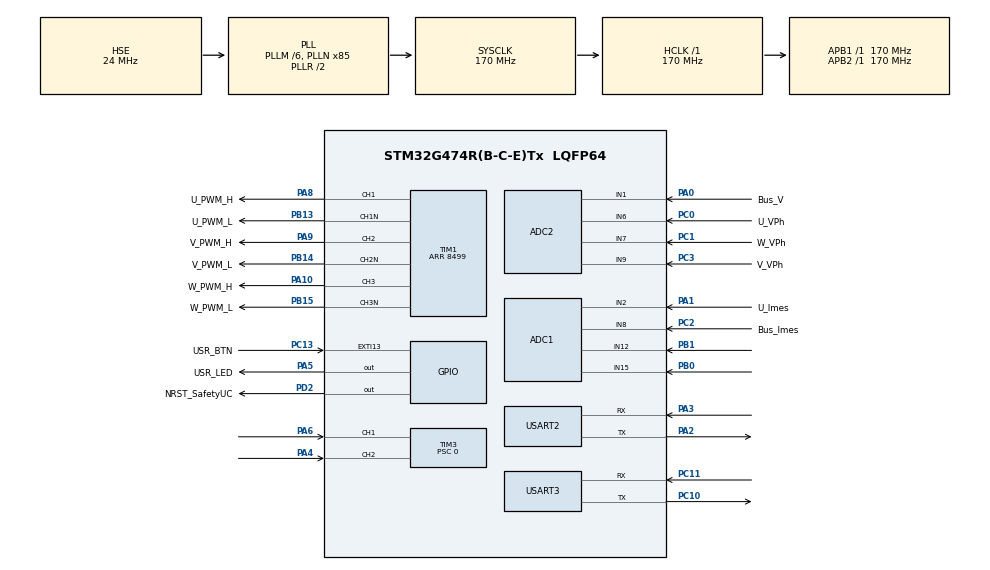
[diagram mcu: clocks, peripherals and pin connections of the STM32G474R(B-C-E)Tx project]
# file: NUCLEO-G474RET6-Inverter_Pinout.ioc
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ADC1.Channel-0\#ChannelRegularConversion=ADC_CHANNEL_2
ADC1.Channel-3\#ChannelRegularConversion=ADC_CHANNEL_12
ADC1.ContinuousConvMode=ENABLE
ADC1.DMAContinuousRequests=ENABLE
ADC1.ExternalTrigConv=ADC_EXTERNALTRIG_T1_TRGO
ADC1.NbrOfConversion=2
ADC1.NbrOfConversionFlag=1
ADC1.OffsetNumber-0\#ChannelRegularConversion=ADC_OFFSET_NONE
ADC1.OffsetNumber-3\#ChannelRegularConversion=ADC_OFFSET_NONE
ADC1.Rank-0\#ChannelRegularConversion=1
ADC1.Rank-3\#ChannelRegularConversion=2
ADC1.SamplingTime-0\#ChannelRegularConversion=ADC_SAMPLETIME_640CYCLES_5
ADC1.SamplingTime-3\#ChannelRegularConversion=ADC_SAMPLETIME_640CYCLES_5
ADC1.master=1
ADC2.Channel-0\#ChannelRegularConversion=ADC_CHANNEL_1
ADC2.ContinuousConvMode=ENABLE
ADC2.DMAContinuousRequests=ENABLE
ADC2.ExternalTrigConv=ADC_EXTERNALTRIG_T1_TRGO
ADC2.NbrOfConversion=1
ADC2.NbrOfConversionFlag=1
ADC2.OffsetNumber-0\#ChannelRegularConversion=ADC_OFFSET_NONE
ADC2.Rank-0\#ChannelRegularConversion=1
ADC2.SamplingTime-0\#ChannelRegularConversion=ADC_SAMPLETIME_640CYCLES_5
Dma.ADC1.0.Direction=DMA_PERIPH_TO_MEMORY
Dma.ADC1.0.EventEnable=DISABLE
Dma.ADC1.0.Instance=DMA1_Channel1
Dma.ADC1.0.MemDataAlignment=DMA_MDATAALIGN_HALFWORD
Dma.ADC1.0.MemInc=DMA_MINC_ENABLE
Dma.ADC1.0.Mode=DMA_CIRCULAR
Dma.ADC1.0.PeriphDataAlignment=DMA_PDATAALIGN_HALFWORD
Dma.ADC1.0.PeriphInc=DMA_PINC_DISABLE
Dma.ADC1.0.Polarity=HAL_DMAMUX_REQ_GEN_RISING
Dma.ADC1.0.Priority=DMA_PRIORITY_LOW
Dma.ADC1.0.RequestNumber=1
Dma.ADC1.0.SignalID=NONE
Dma.ADC1.0.SyncEnable=DISABLE
Dma.ADC1.0.SyncPolarity=HAL_DMAMUX_SYNC_NO_EVENT
Dma.ADC1.0.SyncRequestNumber=1
Dma.ADC1.0.SyncSignalID=NONE
Dma.ADC2.1.Direction=DMA_PERIPH_TO_MEMORY
Dma.ADC2.1.EventEnable=DISABLE
Dma.ADC2.1.Instance=DMA1_Channel2
Dma.ADC2.1.MemDataAlignment=DMA_MDATAALIGN_HALFWORD
Dma.ADC2.1.MemInc=DMA_MINC_ENABLE
Dma.ADC2.1.Mode=DMA_CIRCULAR
Dma.ADC2.1.PeriphDataAlignment=DMA_PDATAALIGN_HALFWORD
Dma.ADC2.1.PeriphInc=DMA_PINC_DISABLE
Dma.ADC2.1.Polarity=HAL_DMAMUX_REQ_GEN_RISING
Dma.ADC2.1.Priority=DMA_PRIORITY_LOW
Dma.ADC2.1.RequestNumber=1
Dma.ADC2.1.SignalID=NONE
Dma.ADC2.1.SyncEnable=DISABLE
Dma.ADC2.1.SyncPolarity=HAL_DMAMUX_SYNC_NO_EVENT
Dma.ADC2.1.SyncRequestNumber=1
Dma.ADC2.1.SyncSignalID=NONE
Dma.Request0=ADC1
Dma.Request1=ADC2
Mcu.Family=STM32G4
Mcu.Name=STM32G474R(B-C-E)Tx
Mcu.Package=LQFP64
NVIC.ADC1_2_IRQn=true\:0\:0\:false\:false\:true\:true\:true\:true
NVIC.DMA1_Channel1_IRQn=true\:0\:0\:false\:false\:true\:false\:true\:true
NVIC.DMA1_Channel2_IRQn=true\:0\:0\:false\:false\:true\:false\:true\:true
NVIC.EXTI15_10_IRQn=true\:0\:0\:false\:false\:true\:true\:true\:true
NVIC.PriorityGroup=NVIC_PRIORITYGROUP_4
NVIC.TIM1_UP_TIM16_IRQn=true\:0\:0\:false\:false\:true\:true\:true\:true
NVIC.TIM3_IRQn=true\:0\:0\:false\:false\:true\:true\:true\:true
NVIC.TIM6_DAC_IRQn=true\:15\:0\:false\:false\:true\:false\:true\:true
NVIC.TimeBase=TIM6_DAC_IRQn
NVIC.TimeBaseIP=TIM6
NVIC.USART2_IRQn=true\:0\:0\:false\:false\:true\:true\:true\:true
NVIC.USART3_IRQn=true\:0\:0\:false\:false\:true\:true\:true\:true
PA0.GPIO_Label=Bus_V
PA0.Mode=IN1-Single-Ended
PA0.Signal=ADC2_IN1
PA1.GPIO_Label=U_Imes
PA1.Mode=IN2-Single-Ended
PA1.Signal=ADC1_IN2
PA10.GPIO_Label=W_PWM_H
PA10.Signal=S_TIM1_CH3
PA13.GPIO_Label=T_SWDIO
PA13.Mode=Trace_Asynchronous_SW
PA13.Signal=SYS_JTMS-SWDIO
PA14.GPIO_Label=T_SWCLK
PA14.Mode=Trace_Asynchronous_SW
PA14.Signal=SYS_JTCK-SWCLK
PA2.Mode=Asynchronous
PA2.Signal=USART2_TX
PA3.Mode=Asynchronous
PA3.Signal=USART2_RX
PA4.Signal=S_TIM3_CH2
PA5.GPIO_Label=USR_LED
PA5.Signal=GPIO_Output
PA6.Signal=S_TIM3_CH1
PA8.GPIO_Label=U_PWM_H
PA8.Signal=S_TIM1_CH1
PA9.GPIO_Label=V_PWM_H
PA9.Signal=S_TIM1_CH2
PB0.Mode=IN15-Single-Ended
PB0.Signal=ADC1_IN15
PB1.Mode=IN12-Single-Ended
PB1.Signal=ADC1_IN12
PB13.GPIO_Label=U_PWM_L
PB13.Mode=PWM Generation1 CH1 CH1N
PB13.Signal=TIM1_CH1N
PB14.GPIO_Label=V_PWM_L
PB14.Mode=PWM Generation2 CH2 CH2N
PB14.Signal=TIM1_CH2N
PB15.GPIO_Label=W_PWM_L
PB15.Mode=PWM Generation3 CH3 CH3N
PB15.Signal=TIM1_CH3N
PB3.GPIO_Label=T_SWO
PB3.Mode=Trace_Asynchronous_SW
PB3.Signal=SYS_JTDO-SWO
PC0.GPIO_Label=U_VPh
PC0.Mode=IN6-Single-Ended
PC0.Signal=ADC2_IN6
PC1.GPIO_Label=W_VPh
PC1.Mode=IN7-Single-Ended
PC1.Signal=ADC2_IN7
PC10.Mode=Asynchronous
PC10.Signal=USART3_TX
PC11.Mode=Asynchronous
PC11.Signal=USART3_RX
PC13.GPIO_Label=USR_BTN
PC13.Signal=GPXTI13
PC14-OSC32_IN.Mode=LSE-External-Oscillator
PC14-OSC32_IN.Signal=RCC_OSC32_IN
PC15-OSC32_OUT.Mode=LSE-External-Oscillator
PC15-OSC32_OUT.Signal=RCC_OSC32_OUT
PC2.GPIO_Label=Bus_Imes
PC2.Mode=IN8-Single-Ended
PC2.Signal=ADC1_IN8
PC3.GPIO_Label=V_VPh
PC3.Mode=IN9-Single-Ended
PC3.Signal=ADC2_IN9
PC8.Signal=S_TIM3_CH3
PD2.GPIO_Label=NRST_SafetyUC
PD2.Signal=GPIO_Output
PF0-OSC_IN.Mode=HSE-External-Oscillator
PF0-OSC_IN.Signal=RCC_OSC_IN
PF1-OSC_OUT.Mode=HSE-External-Oscillator
PF1-OSC_OUT.Signal=RCC_OSC_OUT
ProjectManager.HeapSize=0x200
ProjectManager.StackSize=0x400
ProjectManager.TargetToolchain=STM32CubeIDE
RCC.ADC12Freq_Value=170000000
RCC.ADC345Freq_Value=170000000
RCC.AHBFreq_Value=170000000
RCC.APB1Freq_Value=170000000
RCC.APB1TimFreq_Value=170000000
RCC.APB2Freq_Value=170000000
RCC.APB2TimFreq_Value=170000000
RCC.CortexFreq_Value=170000000
RCC.EXTERNAL_CLOCK_VALUE=12288000
RCC.HCLKFreq_Value=170000000
RCC.HSE_VALUE=24000000
RCC.HSI48_VALUE=48000000
RCC.HSI_VALUE=16000000
RCC.PLLM=RCC_PLLM_DIV6
RCC.PLLN=85
RCC.PLLSourceVirtual=RCC_PLLSOURCE_HSE
RCC.RTCClockSelection=RCC_RTCCLKSOURCE_LSE
RCC.SYSCLKFreq_VALUE=170000000
RCC.SYSCLKSource=RCC_SYSCLKSOURCE_PLLCLK
RCC.USBFreq_Value=170000000
RCC.VCOOutputFreq_Value=340000000
SH.S_TIM1_CH1.0=TIM1_CH1,PWM Generation1 CH1 CH1N
SH.S_TIM1_CH2.0=TIM1_CH2,PWM Generation2 CH2 CH2N
SH.S_TIM1_CH3.0=TIM1_CH3,PWM Generation3 CH3 CH3N
SH.S_TIM3_CH1.0=TIM3_CH1,Encoder_Interface
SH.S_TIM3_CH2.0=TIM3_CH2,Encoder_Interface
SH.S_TIM3_CH3.0=TIM3_CH3
TIM1.Channel-PWM\ Generation1\ CH1\ CH1N=TIM_CHANNEL_1
TIM1.Channel-PWM\ Generation2\ CH2\ CH2N=TIM_CHANNEL_2
TIM1.Channel-PWM\ Generation3\ CH3\ CH3N=TIM_CHANNEL_3
TIM1.CounterMode=TIM_COUNTERMODE_CENTERALIGNED1
TIM1.DeadTime=17
TIM1.DeadTimePreload=ENABLE
TIM1.OCMode_PWM-PWM\ Generation2\ CH2\ CH2N=TIM_OCMODE_PWM1
TIM1.PeriodNoDither=8499
TIM1.PulseNoDither_1=5100
TIM1.PulseNoDither_2=3400
TIM1.PulseNoDither_3=5100
TIM1.TIM_MasterOutputTrigger=TIM_TRGO_UPDATE
TIM1.TIM_MasterOutputTrigger2=TIM_TRGO2_UPDATE
TIM1.TIM_MasterSlaveMode=TIM_MASTERSLAVEMODE_ENABLE
TIM16.AutoReloadPreload=TIM_AUTORELOAD_PRELOAD_ENABLE
TIM16.PeriodNoDither=33999
TIM16.Prescaler=4
TIM3.EncoderMode=TIM_ENCODERMODE_TI12
TIM3.PeriodNoDither=65535
TIM3.Prescaler=0
USART2.VirtualMode-Asynchronous=VM_ASYNC
USART3.VirtualMode-Asynchronous=VM_ASYNC
VP_SYS_VS_DBSignals.Mode=DisableDeadBatterySignals
VP_SYS_VS_tim6.Mode=TIM6
VP_TIM16_VS_ClockSourceINT.Mode=Enable_Timer
board=NUCLEO-G474RE

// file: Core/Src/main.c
/* USER CODE BEGIN Header */
/**
 ******************************************************************************
 * @file           : main.c
 * @brief          : Main program body
 ******************************************************************************
 * @attention
 *
 * Copyright (c) 2023 STMicroelectronics.
 * All rights reserved.
 *
 * This software is licensed under terms that can be found in the LICENSE file
 * in the root directory of this software component.
 * If no LICENSE file comes with this software, it is provided AS-IS.
 *
 ******************************************************************************
 */
/* USER CODE END Header */
#include "main.h"
#include "adc.h"
#include "dma.h"
#include "tim.h"
#include "usart.h"
#include "gpio.h"

/* USER CODE BEGIN Includes */
#include "mylibs/shell.h"
#include "mylibs/pwm.h"
#include "mylibs/codeur.h"
#include "mylibs/pid_controller.h"
#include <stdio.h>
#include <stdint.h>
/* USER CODE END Includes */

/* USER CODE BEGIN PV */
uint32_t value_adc1[2]; // Buffer courant adc1
uint32_t value_adc2; // Buffer Courant adc2

PIDController pid;
/* USER CODE END PV */

void SystemClock_Config(void);

int main(void)
{

  /* MCU Configuration--------------------------------------------------------*/

  /* Reset of all peripherals, Initializes the Flash interface and the Systick. */
  HAL_Init();

  /* Configure the system clock */
  SystemClock_Config();

  /* Initialize all configured peripherals */
  MX_GPIO_Init();
  MX_DMA_Init();
  MX_ADC2_Init();
  MX_ADC1_Init();
  MX_TIM1_Init();
  MX_TIM3_Init();
  MX_USART2_UART_Init();
  MX_USART3_UART_Init();
  MX_TIM16_Init();
  /* USER CODE BEGIN 2 */
	Shell_Init(); // init du shell

	pwm_start(); // Depart des pwm
	codeur_start(); // Depart de l'encodeur

	pid = pid_init(0.48,0.247,0.23);

	HAL_TIM_Base_Start_IT(&htim16); // Demarrage du TImer pour cadencer les valeurs de vitesse

	// valeures de l'asserv

	HAL_ADCEx_Calibration_Start(&hadc1, ADC_SINGLE_ENDED);
	HAL_ADC_Start_DMA(&hadc1,(uint32_t*)&value_adc1,2);

	HAL_ADCEx_Calibration_Start(&hadc2, ADC_SINGLE_ENDED);
	HAL_ADC_Start_DMA(&hadc2,(uint32_t*)&value_adc2,1);

  /* USER CODE END 2 */

  /* Infinite loop */
  /* USER CODE BEGIN WHILE */
	while (1)
	{
		Shell_Loop();

    /* USER CODE END WHILE */

	}
}

void SystemClock_Config(void)
{
  RCC_OscInitTypeDef RCC_OscInitStruct = {0};
  RCC_ClkInitTypeDef RCC_ClkInitStruct = {0};

  /** Configure the main internal regulator output voltage
  */
  HAL_PWREx_ControlVoltageScaling(PWR_REGULATOR_VOLTAGE_SCALE1_BOOST);

  /** Initializes the RCC Oscillators according to the specified parameters
  * in the RCC_OscInitTypeDef structure.
  */
  RCC_OscInitStruct.OscillatorType = RCC_OSCILLATORTYPE_HSE;
  RCC_OscInitStruct.HSEState = RCC_HSE_ON;
  RCC_OscInitStruct.PLL.PLLState = RCC_PLL_ON;
  RCC_OscInitStruct.PLL.PLLSource = RCC_PLLSOURCE_HSE;
  RCC_OscInitStruct.PLL.PLLM = RCC_PLLM_DIV6;
  RCC_OscInitStruct.PLL.PLLN = 85;
  RCC_OscInitStruct.PLL.PLLP = RCC_PLLP_DIV2;
  RCC_OscInitStruct.PLL.PLLQ = RCC_PLLQ_DIV2;
  RCC_OscInitStruct.PLL.PLLR = RCC_PLLR_DIV2;
  if (HAL_RCC_OscConfig(&RCC_OscInitStruct) != HAL_OK)
  {
    Error_Handler();
  }

  /** Initializes the CPU, AHB and APB buses clocks
  */
  RCC_ClkInitStruct.ClockType = RCC_CLOCKTYPE_HCLK|RCC_CLOCKTYPE_SYSCLK
                              |RCC_CLOCKTYPE_PCLK1|RCC_CLOCKTYPE_PCLK2;
  RCC_ClkInitStruct.SYSCLKSource = RCC_SYSCLKSOURCE_PLLCLK;
  RCC_ClkInitStruct.AHBCLKDivider = RCC_SYSCLK_DIV1;
  RCC_ClkInitStruct.APB1CLKDivider = RCC_HCLK_DIV1;
  RCC_ClkInitStruct.APB2CLKDivider = RCC_HCLK_DIV1;

  if (HAL_RCC_ClockConfig(&RCC_ClkInitStruct, FLASH_LATENCY_4) != HAL_OK)
  {
    Error_Handler();
  }
}

/* USER CODE BEGIN 4 */
void HAL_ADC_ConvCpltCallback(ADC_HandleTypeDef *hadc)
{
//	cpt = (cpt + 1)%20000;
//	if(cpt == 0) HAL_GPIO_TogglePin(USR_LED_GPIO_Port, USR_LED_Pin);
}

/* USER CODE END 4 */

void HAL_TIM_PeriodElapsedCallback(TIM_HandleTypeDef *htim)
{
  if (htim->Instance == TIM6) {
    HAL_IncTick();
  }
}

void Error_Handler(void)
{
	__disable_irq();
	while (1)
	{
	}
}
